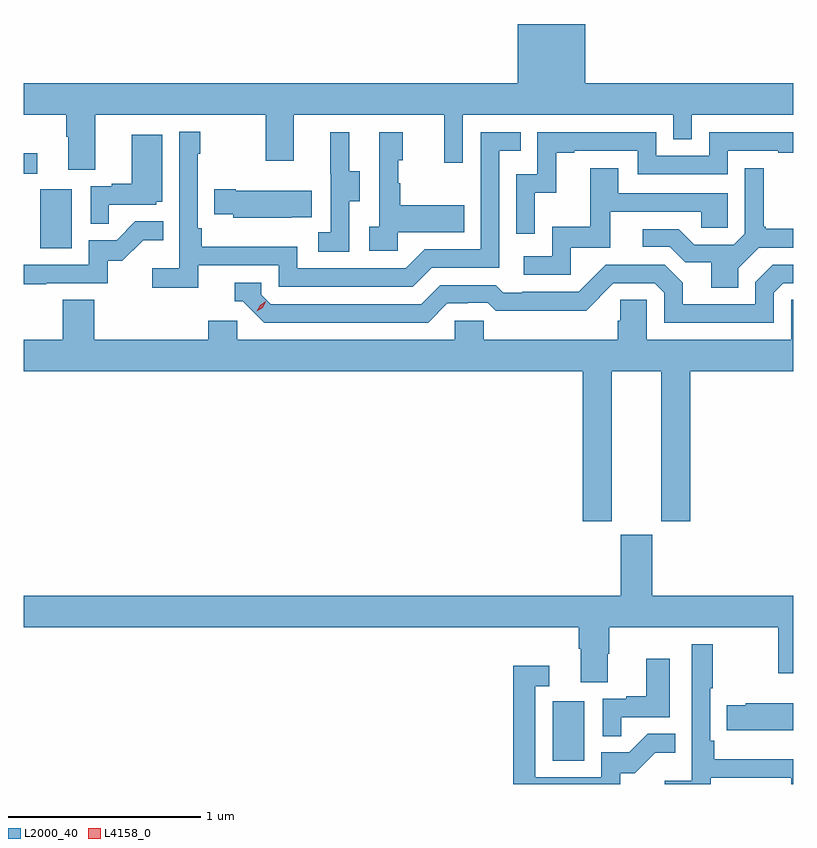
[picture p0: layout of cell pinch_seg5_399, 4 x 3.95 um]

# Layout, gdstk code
import gdstk
lib = gdstk.Library(unit=1e-6, precision=1e-09)
def R(c, l, rs):  # rectangles x0, y0, x1, y1
    for r in rs: c.add(gdstk.rectangle(r[:2], r[2:], *l))
def P(c, l, *ps):  # polygons
    for p in ps: c.add(gdstk.Polygon(p, *l))
L2000_40 = (2000, 40)
L4158_0 = (4158, 0)

pinch_seg5_399 = lib.new_cell('pinch_seg5_399')
R(pinch_seg5_399, L2000_40, [(966.74,864.06,966.904,864.367), (964.076,866.724,964.24,867.031), (963.991,867.111,964.06,867.217)])
P(pinch_seg5_399, L2000_40, [(964.363,867.416),(965.248,867.416),(965.248,867.177),(965.395,867.177),(965.395,867.416),(966.176,867.416),(966.176,867.168),(966.273,867.168),(966.273,867.416),(967.368,867.416),(967.368,867.289),(967.464,867.289),(967.464,867.416),(967.991,867.416),(967.991,867.58),(966.91,867.58),(966.91,867.889),(966.56,867.889),(966.56,867.58),(963.991,867.58),(963.991,867.416),(964.211,867.416),(964.211,867.304),(964.223,867.304),(964.223,867.13),(964.363,867.13)],
  [(964.898,866.634),(965.316,866.634),(965.316,866.523),(966.013,866.523),(966.112,866.622),(966.462,866.622),(966.462,867.231),(966.575,867.231),(966.575,867.327),(966.366,867.327),(966.366,866.718),(966.075,866.718),(965.976,866.619),(965.412,866.619),(965.412,866.731),(964.916,866.731),(964.916,866.827),(964.896,866.827),(964.896,867.215),(964.909,867.215),(964.909,867.328),(964.8,867.328),(964.8,866.62),(964.659,866.62),(964.659,866.518),(964.898,866.518)],
  [(966.648,867.011),(966.758,867.011),(966.758,867.219),(966.853,867.219),(966.853,867.231),(967.182,867.231),(967.182,867.108),(967.65,867.108),(967.65,867.231),(967.913,867.231),(967.913,867.219),(967.991,867.219),(967.991,867.327),(967.554,867.327),(967.554,867.204),(967.278,867.204),(967.278,867.327),(966.66,867.327),(966.66,867.108),(966.552,867.108),(966.552,866.799),(966.648,866.799)],
  [(965.682,866.968),(965.737,866.968),(965.737,867.123),(965.683,867.123),(965.683,867.325),(965.585,867.325),(965.585,867.111),(965.586,867.111),(965.586,866.807),(965.523,866.807),(965.523,866.704),(965.682,866.704)],
  [(965.934,866.807),(966.281,866.807),(966.281,866.947),(965.947,866.947),(965.947,867.062),(965.937,867.062),(965.937,867.18),(965.962,867.18),(965.962,867.325),(965.838,867.325),(965.838,866.834),(965.787,866.834),(965.787,866.709),(965.934,866.709)],
  [(964.433,866.949),(964.68,866.949),(964.68,866.964),(964.711,866.964),(964.711,867.313),(964.553,867.313),(964.553,867.058),(964.449,867.058),(964.449,867.045),(964.338,867.045),(964.338,866.851),(964.433,866.851)],
  [(966.834,866.727),(967.039,866.727),(967.039,866.913),(967.513,866.913),(967.513,866.829),(967.65,866.829),(967.65,867.009),(967.081,867.009),(967.081,867.139),(966.937,867.139),(966.937,866.836),(966.738,866.836),(966.738,866.682),(966.591,866.682),(966.591,866.586),(966.834,866.586)],
  [(967.705,866.62),(967.812,866.727),(967.991,866.727),(967.991,866.824),(967.849,866.824),(967.849,866.836),(967.837,866.836),(967.837,867.139),(967.74,867.139),(967.74,866.799),(967.683,866.742),(967.477,866.742),(967.396,866.823),(967.209,866.823),(967.209,866.73),(967.35,866.73),(967.43,866.65),(967.565,866.65),(967.565,866.518),(967.705,866.518)],
  [(965.381,866.885),(965.489,866.885),(965.489,867.022),(965.092,867.022),(965.092,867.03),(964.981,867.03),(964.981,866.9),(965.079,866.9),(965.079,866.882),(965.381,866.882)],
  [(964.109,866.541),(964.428,866.541),(964.428,866.658),(964.504,866.658),(964.611,866.765),(964.715,866.765),(964.715,866.864),(964.571,866.864),(964.473,866.766),(964.329,866.766),(964.329,866.637),(963.991,866.637),(963.991,866.536),(964.109,866.536)],
  [(966.193,866.436),(966.3,866.436),(966.3,866.439),(966.403,866.439),(966.445,866.397),(966.678,866.397),(966.678,866.399),(966.914,866.399),(967.056,866.541),(967.272,866.541),(967.32,866.493),(967.32,866.337),(967.89,866.337),(967.89,866.493),(967.938,866.541),(967.991,866.541),(967.991,866.637),(967.884,866.637),(967.794,866.547),(967.794,866.433),(967.417,866.433),(967.417,866.543),(967.323,866.637),(967.017,866.637),(966.876,866.496),(966.583,866.496),(966.583,866.493),(966.484,866.493),(966.445,866.532),(966.156,866.532),(966.057,866.433),(965.274,866.433),(965.226,866.481),(965.226,866.544),(965.087,866.544),(965.087,866.448),(965.13,866.448),(965.241,866.337),(966.094,866.337)],
  [(967.048,866.084),(967.304,866.084),(967.304,865.305),(967.457,865.305),(967.457,866.084),(967.991,866.084),(967.991,866.456),(967.98,866.456),(967.98,866.248),(967.23,866.248),(967.23,866.456),(967.093,866.456),(967.093,866.346),(967.079,866.346),(967.079,866.248),(966.381,866.248),(966.381,866.346),(966.231,866.346),(966.231,866.248),(965.1,866.248),(965.1,866.346),(964.949,866.346),(964.949,866.248),(964.358,866.248),(964.358,866.456),(964.193,866.456),(964.193,866.248),(963.991,866.248),(963.991,866.084),(966.896,866.084),(966.896,865.305),(967.048,865.305)],
  [(967.027,864.615),(967.035,864.615),(967.035,864.752),(967.912,864.752),(967.912,864.513),(967.991,864.513),(967.991,864.916),(967.258,864.916),(967.258,865.233),(967.094,865.233),(967.094,864.916),(963.991,864.916),(963.991,864.752),(966.875,864.752),(966.875,864.64),(966.887,864.64),(966.887,864.466),(967.027,864.466)],
  [(967.562,863.97),(967.98,863.97),(967.98,863.938),(967.991,863.938),(967.991,864.067),(967.58,864.067),(967.58,864.163),(967.56,864.163),(967.56,864.436),(967.573,864.436),(967.573,864.664),(967.464,864.664),(967.464,863.956),(967.323,863.956),(967.323,863.938),(967.562,863.938)],
  [(967.097,864.285),(967.348,864.285),(967.348,864.589),(967.226,864.589),(967.226,864.394),(967.123,864.394),(967.123,864.381),(967.002,864.381),(967.002,864.187),(967.097,864.187)],
  [(967.092,863.994),(967.168,863.994),(967.275,864.101),(967.379,864.101),(967.379,864.2),(967.236,864.2),(967.138,864.102),(966.993,864.102),(966.993,863.973),(966.651,863.973),(966.651,864.447),(966.724,864.447),(966.724,864.553),(966.535,864.553),(966.535,863.938),(967.092,863.938)],
  [(967.991,864.358),(967.743,864.358),(967.743,864.348),(967.645,864.348),(967.645,864.218),(967.991,864.218)])
P(pinch_seg5_399, L4158_0, [(965.203,866.395),(965.203,866.395),(965.219,866.427),(965.25,866.447),(965.25,866.447),(965.25,866.447),(965.234,866.414),(965.203,866.395)])

lib.write_gds('pinch_seg5_399.gds')
